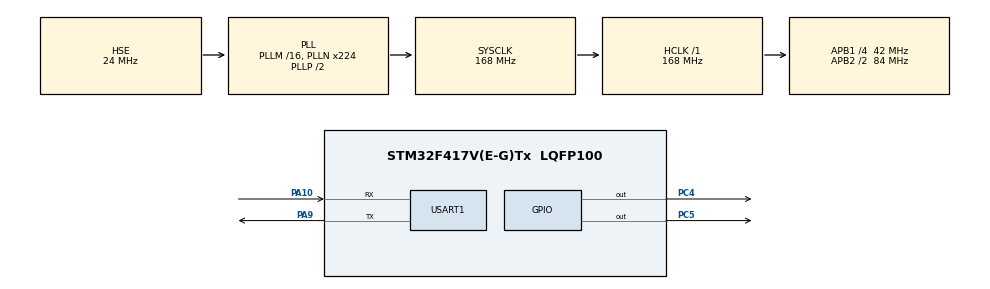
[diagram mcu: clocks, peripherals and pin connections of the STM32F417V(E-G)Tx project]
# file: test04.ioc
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FREERTOS.Tasks01=LED,0,128,LEDTask,As weak,NULL,Dynamic,NULL,NULL
FREERTOS.configUSE_NEWLIB_REENTRANT=1
Mcu.Family=STM32F4
Mcu.Name=STM32F417V(E-G)Tx
Mcu.Package=LQFP100
NVIC.PriorityGroup=NVIC_PRIORITYGROUP_4
NVIC.TIM1_UP_TIM10_IRQn=true\:15\:0\:false\:false\:true\:false\:false\:true\:true
NVIC.TimeBase=TIM1_UP_TIM10_IRQn
NVIC.TimeBaseIP=TIM1
NVIC.USART1_IRQn=true\:5\:0\:false\:false\:true\:true\:true\:true\:true
PA10.GPIO_ModeDefaultPP=GPIO_MODE_AF_PP
PA10.GPIO_PuPd=GPIO_PULLUP
PA10.GPIO_Speed=GPIO_SPEED_FREQ_HIGH
PA10.Mode=Asynchronous
PA10.Signal=USART1_RX
PA13.Mode=Trace_Synchro_2bits_JTAG
PA13.Signal=SYS_JTMS-SWDIO
PA14.Mode=Trace_Synchro_2bits_JTAG
PA14.Signal=SYS_JTCK-SWCLK
PA15.Mode=Trace_Synchro_2bits_JTAG
PA15.Signal=SYS_JTDI
PA9.GPIO_ModeDefaultPP=GPIO_MODE_AF_PP
PA9.GPIO_PuPd=GPIO_PULLUP
PA9.GPIO_Speed=GPIO_SPEED_FREQ_HIGH
PA9.Mode=Asynchronous
PA9.Signal=USART1_TX
PB3.Mode=Trace_Synchro_2bits_JTAG
PB3.Signal=SYS_JTDO-SWO
PC14-OSC32_IN.Mode=LSE-External-Oscillator
PC14-OSC32_IN.Signal=RCC_OSC32_IN
PC15-OSC32_OUT.Mode=LSE-External-Oscillator
PC15-OSC32_OUT.Signal=RCC_OSC32_OUT
PC4.GPIO_ModeDefaultOutputPP=GPIO_MODE_OUTPUT_PP
PC4.GPIO_PuPd=GPIO_PULLUP
PC4.GPIO_Speed=GPIO_SPEED_FREQ_HIGH
PC4.PinState=GPIO_PIN_SET
PC4.Signal=GPIO_Output
PC5.GPIO_ModeDefaultOutputPP=GPIO_MODE_OUTPUT_PP
PC5.GPIO_PuPd=GPIO_PULLUP
PC5.GPIO_Speed=GPIO_SPEED_FREQ_HIGH
PC5.PinState=GPIO_PIN_SET
PC5.Signal=GPIO_Output
PE2.Mode=Trace_Synchro_2bits_JTAG
PE2.Signal=SYS_TRACECLK
PE3.Mode=Trace_Synchro_2bits_JTAG
PE3.Signal=SYS_TRACED0
PE4.Mode=Trace_Synchro_2bits_JTAG
PE4.Signal=SYS_TRACED1
PH0-OSC_IN.Mode=HSE-External-Oscillator
PH0-OSC_IN.Signal=RCC_OSC_IN
PH1-OSC_OUT.Mode=HSE-External-Oscillator
PH1-OSC_OUT.Signal=RCC_OSC_OUT
ProjectManager.HeapSize=0x200
ProjectManager.StackSize=0x400
ProjectManager.TargetToolchain=STM32CubeIDE
RCC.48MHZClocksFreq_Value=84000000
RCC.AHBFreq_Value=168000000
RCC.APB1CLKDivider=RCC_HCLK_DIV4
RCC.APB1Freq_Value=42000000
RCC.APB1TimFreq_Value=84000000
RCC.APB2CLKDivider=RCC_HCLK_DIV2
RCC.APB2Freq_Value=84000000
RCC.APB2TimFreq_Value=168000000
RCC.CortexFreq_Value=168000000
RCC.HCLKFreq_Value=168000000
RCC.HSE_VALUE=24000000
RCC.HSI_VALUE=16000000
RCC.PLLN=224
RCC.PLLSourceVirtual=RCC_PLLSOURCE_HSE
RCC.SYSCLKFreq_VALUE=168000000
RCC.SYSCLKSource=RCC_SYSCLKSOURCE_PLLCLK
RCC.VCOOutputFreq_Value=336000000
USART1.VirtualMode=VM_ASYNC
VP_FREERTOS_VS_CMSIS_V1.Mode=CMSIS_V1
VP_SYS_VS_tim1.Mode=TIM1
board=custom

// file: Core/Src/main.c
/* USER CODE BEGIN Header */
/**
  ******************************************************************************
  * @file           : main.c
  * @brief          : Main program body
  ******************************************************************************
  * @attention
  *
  * Copyright (c) 2022 STMicroelectronics.
  * All rights reserved.
  *
  * This software is licensed under terms that can be found in the LICENSE file
  * in the root directory of this software component.
  * If no LICENSE file comes with this software, it is provided AS-IS.
  *
  ******************************************************************************
  */
/* USER CODE END Header */
#include "main.h"
#include "cmsis_os.h"

/* USER CODE BEGIN Includes */
#include "stdio.h"	//标准输入输出库
/* USER CODE END Includes */

UART_HandleTypeDef huart1;

osThreadId LEDHandle;

void SystemClock_Config(void);
static void MX_GPIO_Init(void);
static void MX_USART1_UART_Init(void);
void LEDTask(void const * argument);		//声明任务实现函数

/* USER CODE BEGIN PFP */
#ifdef __GNUC__									//串口重定向
#define PUTCHAR_PROTOTYPE int __io_putchar(int ch)
#else
#define PUTCHAR_PROTOTYPE int fputc(int ch, FILE *f)
#endif
PUTCHAR_PROTOTYPE
{
    HAL_UART_Transmit(&huart1 , (uint8_t *)&ch, 1, 0xFFFF);
    return ch;
}
/* USER CODE END PFP */

int main(void)
{

  /* MCU Configuration--------------------------------------------------------*/

  /* Reset of all peripherals, Initializes the Flash interface and the Systick. */
  HAL_Init();

  /* Configure the system clock */
  SystemClock_Config();

  /* Initialize all configured peripherals */
  MX_GPIO_Init();
  MX_USART1_UART_Init();
  /* USER CODE BEGIN 2 */
  HAL_GPIO_WritePin(GPIOC, GPIO_PIN_4, GPIO_PIN_RESET);
  HAL_GPIO_WritePin(GPIOC, GPIO_PIN_5, GPIO_PIN_RESET);		//LED灯翻转
  /* USER CODE END 2 */

  /* Create the thread(s) */
  /* definition and creation of LED */
  osThreadDef(LED, LEDTask, osPriorityNormal, 0, 128);		//创建任务
  LEDHandle = osThreadCreate(osThread(LED), NULL);

  /* Start scheduler */
  osKernelStart();		//启动任务，开启调度

  /* We should never get here as control is now taken by the scheduler */
  /* Infinite loop */
  while (1)
  {

  }
}

void SystemClock_Config(void)
{
  RCC_OscInitTypeDef RCC_OscInitStruct = {0};
  RCC_ClkInitTypeDef RCC_ClkInitStruct = {0};

  /** Configure the main internal regulator output voltage
  */
  __HAL_RCC_PWR_CLK_ENABLE();
  __HAL_PWR_VOLTAGESCALING_CONFIG(PWR_REGULATOR_VOLTAGE_SCALE1);

  /** Initializes the RCC Oscillators according to the specified parameters
  * in the RCC_OscInitTypeDef structure.
  */
  RCC_OscInitStruct.OscillatorType = RCC_OSCILLATORTYPE_HSE;
  RCC_OscInitStruct.HSEState = RCC_HSE_ON;
  RCC_OscInitStruct.PLL.PLLState = RCC_PLL_ON;
  RCC_OscInitStruct.PLL.PLLSource = RCC_PLLSOURCE_HSE;
  RCC_OscInitStruct.PLL.PLLM = 16;
  RCC_OscInitStruct.PLL.PLLN = 224;
  RCC_OscInitStruct.PLL.PLLP = RCC_PLLP_DIV2;
  RCC_OscInitStruct.PLL.PLLQ = 4;
  if (HAL_RCC_OscConfig(&RCC_OscInitStruct) != HAL_OK)
  {
    Error_Handler();
  }

  /** Initializes the CPU, AHB and APB buses clocks
  */
  RCC_ClkInitStruct.ClockType = RCC_CLOCKTYPE_HCLK|RCC_CLOCKTYPE_SYSCLK
                              |RCC_CLOCKTYPE_PCLK1|RCC_CLOCKTYPE_PCLK2;
  RCC_ClkInitStruct.SYSCLKSource = RCC_SYSCLKSOURCE_PLLCLK;
  RCC_ClkInitStruct.AHBCLKDivider = RCC_SYSCLK_DIV1;
  RCC_ClkInitStruct.APB1CLKDivider = RCC_HCLK_DIV4;
  RCC_ClkInitStruct.APB2CLKDivider = RCC_HCLK_DIV2;

  if (HAL_RCC_ClockConfig(&RCC_ClkInitStruct, FLASH_LATENCY_5) != HAL_OK)
  {
    Error_Handler();
  }
}

static void MX_USART1_UART_Init(void)
{

  huart1.Instance = USART1;
  huart1.Init.BaudRate = 115200;
  huart1.Init.WordLength = UART_WORDLENGTH_8B;
  huart1.Init.StopBits = UART_STOPBITS_1;
  huart1.Init.Parity = UART_PARITY_NONE;
  huart1.Init.Mode = UART_MODE_TX_RX;
  huart1.Init.HwFlowCtl = UART_HWCONTROL_NONE;
  huart1.Init.OverSampling = UART_OVERSAMPLING_16;
  if (HAL_UART_Init(&huart1) != HAL_OK)
  {
    Error_Handler();
  }

}

static void MX_GPIO_Init(void)
{
  GPIO_InitTypeDef GPIO_InitStruct = {0};

  /* GPIO Ports Clock Enable */
  __HAL_RCC_GPIOE_CLK_ENABLE();
  __HAL_RCC_GPIOC_CLK_ENABLE();
  __HAL_RCC_GPIOH_CLK_ENABLE();
  __HAL_RCC_GPIOA_CLK_ENABLE();
  __HAL_RCC_GPIOB_CLK_ENABLE();

  /*Configure GPIO pin Output Level */
  HAL_GPIO_WritePin(GPIOC, GPIO_PIN_4|GPIO_PIN_5, GPIO_PIN_SET);

  /*Configure GPIO pins : PC4 PC5 */
  GPIO_InitStruct.Pin = GPIO_PIN_4|GPIO_PIN_5;
  GPIO_InitStruct.Mode = GPIO_MODE_OUTPUT_PP;
  GPIO_InitStruct.Pull = GPIO_PULLUP;
  GPIO_InitStruct.Speed = GPIO_SPEED_FREQ_HIGH;
  HAL_GPIO_Init(GPIOC, &GPIO_InitStruct);

}

__weak void LEDTask(void const * argument)
{
  /* USER CODE BEGIN 5 */
  /* Infinite loop */
  for(;;)
  {
	printf("我是LED任务\r\n");
	HAL_GPIO_TogglePin(GPIOC, GPIO_PIN_4);
	osDelay(500);
	HAL_GPIO_TogglePin(GPIOC, GPIO_PIN_5);
    osDelay(500);
  }
  /* USER CODE END 5 */
}

void HAL_TIM_PeriodElapsedCallback(TIM_HandleTypeDef *htim)
{
  if (htim->Instance == TIM1) {
    HAL_IncTick();
  }
}

void Error_Handler(void)
{
  __disable_irq();
  while (1)
  {
  }
}
